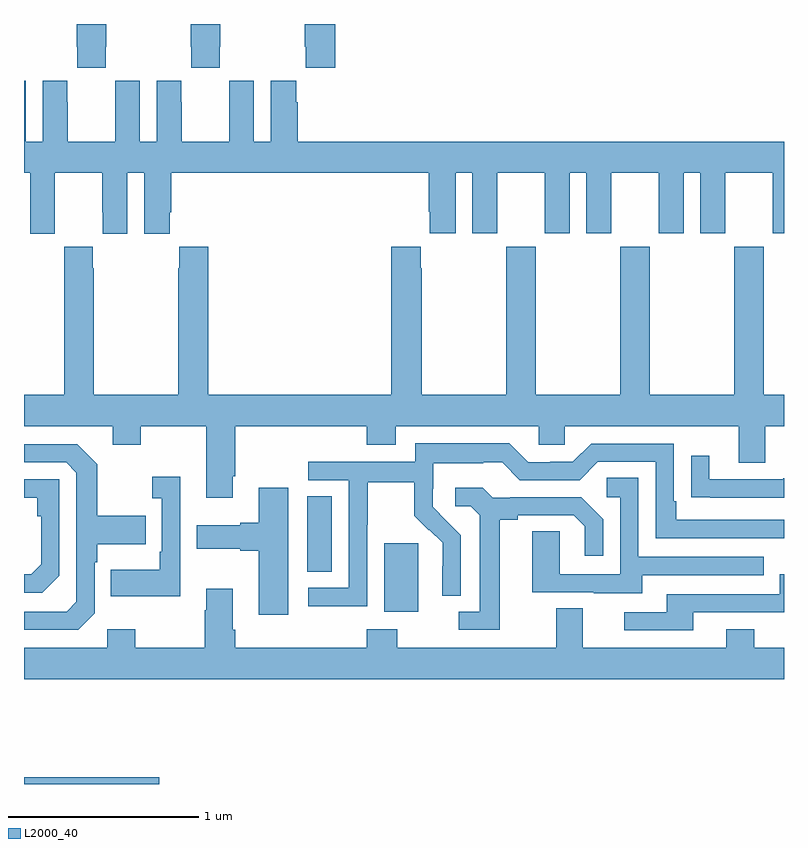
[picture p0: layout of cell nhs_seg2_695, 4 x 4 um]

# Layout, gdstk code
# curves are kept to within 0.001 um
import gdstk
lib = gdstk.Library(unit=1e-6, precision=1e-09)
def R(c, l, rs):  # rectangles x0, y0, x1, y1
    for r in rs: c.add(gdstk.rectangle(r[:2], r[2:], *l))
def P(c, l, *ps):  # polygons
    for p in ps: c.add(gdstk.Polygon(p, *l))
L2000_40 = (2000, 40)

nhs_seg2_695 = lib.new_cell('nhs_seg2_695')
R(nhs_seg2_695, L2000_40, [(147,597.8,147.712,597.836), (148.895,598.706,149.074,599.067), (148.49,598.918,148.621,599.315)])
P(nhs_seg2_695, L2000_40, [(148.637,601.8),(148.477,601.8),(148.477,601.681),(148.483,601.681),(148.483,601.569),(148.637,601.569)],
  [(148.029,601.681),(148.032,601.681),(148.032,601.8),(147.877,601.8),(147.877,601.681),(147.879,601.681),(147.879,601.569),(148.029,601.569)],
  [(147.429,601.681),(147.432,601.681),(147.432,601.8),(147.277,601.8),(147.277,601.681),(147.279,601.681),(147.279,601.569),(147.429,601.569)],
  [(147.162,600.808),(147.163,600.808),(147.163,601.016),(147.413,601.016),(147.413,600.808),(147.414,600.808),(147.414,600.696),(147.544,600.696),(147.544,601.016),(147.632,601.016),(147.632,600.696),(147.766,600.696),(147.766,600.808),(147.776,600.808),(147.776,601.016),(149.129,601.016),(149.129,600.811),(149.135,600.811),(149.135,600.699),(149.272,600.699),(149.272,601.016),(149.36,601.016),(149.36,600.699),(149.491,600.699),(149.491,601.016),(149.741,601.016),(149.741,600.699),(149.872,600.699),(149.872,601.016),(149.96,601.016),(149.96,600.699),(150.091,600.699),(150.091,601.016),(150.341,601.016),(150.341,600.699),(150.472,600.699),(150.472,601.016),(150.56,601.016),(150.56,600.699),(150.691,600.699),(150.691,601.016),(150.941,601.016),(150.941,600.699),(151,600.699),(151,601.18),(148.442,601.18),(148.442,601.388),(148.432,601.388),(148.432,601.501),(148.298,601.501),(148.298,601.18),(148.21,601.18),(148.21,601.501),(148.08,601.501),(148.08,601.388),(148.079,601.388),(148.079,601.18),(147.829,601.18),(147.829,601.388),(147.828,601.388),(147.828,601.501),(147.698,601.501),(147.698,601.18),(147.61,601.18),(147.61,601.501),(147.48,601.501),(147.48,601.388),(147.479,601.388),(147.479,601.18),(147.229,601.18),(147.229,601.388),(147.228,601.388),(147.228,601.501),(147.098,601.501),(147.098,601.18),(147.01,601.18),(147.01,601.501),(147,601.501),(147,601.016),(147.032,601.016),(147.032,600.696),(147.162,600.696)],
  [(149.694,600.628),(149.539,600.628),(149.539,599.848),(149.094,599.848),(149.094,600.515),(149.089,600.515),(149.089,600.628),(148.934,600.628),(148.934,599.848),(147.971,599.848),(147.971,600.628),(147.817,600.628),(147.817,600.515),(147.811,600.515),(147.811,599.848),(147.366,599.848),(147.366,600.515),(147.363,600.515),(147.363,600.628),(147.213,600.628),(147.213,600.515),(147.211,600.515),(147.211,599.848),(147,599.848),(147,599.684),(147.467,599.684),(147.467,599.585),(147.615,599.585),(147.615,599.684),(147.959,599.684),(147.959,599.307),(148.099,599.307),(148.099,599.419),(148.112,599.419),(148.112,599.684),(148.805,599.684),(148.805,599.585),(148.957,599.585),(148.957,599.684),(149.709,599.684),(149.709,599.586),(149.847,599.586),(149.847,599.684),(150.761,599.684),(150.761,599.49),(150.901,599.49),(150.901,599.684),(151,599.684),(151,599.848),(150.894,599.848),(150.894,600.628),(150.739,600.628),(150.739,599.848),(150.294,599.848),(150.294,600.628),(150.139,600.628),(150.139,599.848),(149.694,599.848)],
  [(148.806,599.164),(148.809,599.164),(148.809,599.388),(149.053,599.388),(149.053,599.213),(149.13,599.136),(149.133,599.139),(149.204,599.069),(149.204,598.946),(149.202,598.946),(149.202,598.792),(149.298,598.792),(149.298,599.11),(149.152,599.258),(149.152,599.355),(149.154,599.355),(149.154,599.489),(149.417,599.489),(149.417,599.493),(149.517,599.493),(149.61,599.4),(149.925,599.4),(150.021,599.496),(150.324,599.496),(150.324,599.094),(151,599.094),(151,599.19),(150.433,599.19),(150.433,599.287),(150.42,599.287),(150.42,599.592),(149.985,599.592),(149.889,599.496),(149.771,599.496),(149.771,599.493),(149.655,599.493),(149.555,599.593),(149.058,599.593),(149.058,599.496),(148.497,599.496),(148.497,599.4),(148.71,599.4),(148.71,598.833),(148.497,598.833),(148.497,598.735),(148.806,598.735)],
  [(147.372,598.698),(147.372,598.967),(147.385,598.967),(147.385,599.063),(147.641,599.063),(147.641,599.211),(147.385,599.211),(147.385,599.483),(147.279,599.589),(147,599.589),(147,599.493),(147.222,599.493),(147.276,599.439),(147.276,598.758),(147.225,598.707),(147,598.707),(147,598.611),(147.285,598.611)],
  [(151,599.408),(150.997,599.408),(150.997,599.403),(150.607,599.403),(150.607,599.527),(150.511,599.527),(150.511,599.308),(150.613,599.308),(150.613,599.307),(151,599.307)],
  [(147.822,599.416),(147.675,599.416),(147.675,599.303),(147.726,599.303),(147.726,599.023),(147.714,599.023),(147.714,598.927),(147.457,598.927),(147.457,598.787),(147.822,598.787)],
  [(150.253,598.899),(150.893,598.899),(150.893,598.995),(150.234,598.995),(150.234,599.411),(150.066,599.411),(150.066,599.31),(150.138,599.31),(150.138,598.905),(149.82,598.905),(149.82,599.129),(149.675,599.129),(149.675,598.809),(149.999,598.809),(149.999,598.805),(150.253,598.805)],
  [(147.186,598.896),(147.186,599.403),(147,599.403),(147,599.307),(147.07,599.307),(147.07,599.21),(147.09,599.21),(147.09,598.956),(147.037,598.903),(147,598.903),(147,598.806),(147.096,598.806)],
  [(148.39,599.359),(148.235,599.359),(148.235,599.174),(148.139,599.174),(148.139,599.161),(147.909,599.161),(147.909,599.039),(148.139,599.039),(148.139,599.027),(148.235,599.027),(148.235,598.692),(148.39,598.692)],
  [(149.503,599.192),(149.599,599.192),(149.599,599.214),(149.894,599.214),(149.951,599.157),(149.951,599.001),(150.048,599.001),(150.048,599.194),(149.932,599.31),(149.56,599.31),(149.56,599.307),(149.466,599.307),(149.414,599.359),(149.271,599.359),(149.271,599.262),(149.352,599.262),(149.399,599.215),(149.399,598.707),(149.289,598.707),(149.289,598.611),(149.503,598.611)],
  [(150.523,598.704),(151,598.704),(151,598.903),(150.978,598.903),(150.978,598.8),(150.383,598.8),(150.383,598.704),(150.159,598.704),(150.159,598.608),(150.523,598.608)],
  [(151,598.516),(150.843,598.516),(150.843,598.615),(150.695,598.615),(150.695,598.516),(149.941,598.516),(149.941,598.724),(149.801,598.724),(149.801,598.516),(148.965,598.516),(148.965,598.615),(148.805,598.615),(148.805,598.516),(148.112,598.516),(148.112,598.612),(148.099,598.612),(148.099,598.828),(147.959,598.828),(147.959,598.715),(147.952,598.715),(147.952,598.516),(147.585,598.516),(147.585,598.615),(147.438,598.615),(147.438,598.516),(147,598.516),(147,598.352),(151,598.352)])

lib.write_gds('nhs_seg2_695.gds')
